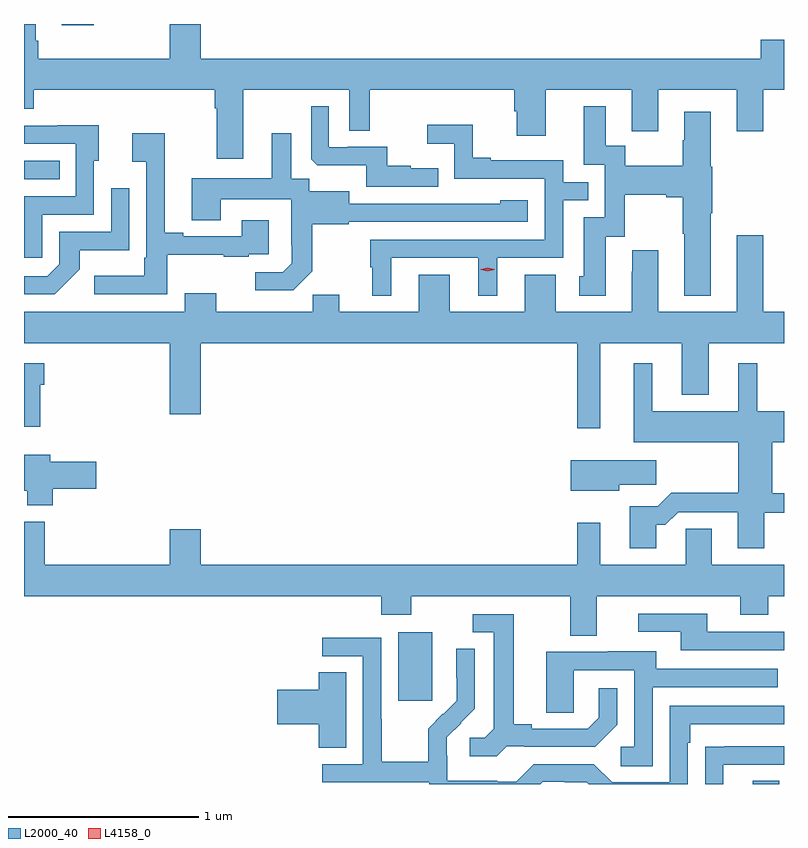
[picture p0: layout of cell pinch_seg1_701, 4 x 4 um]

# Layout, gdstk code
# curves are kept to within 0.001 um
import gdstk
lib = gdstk.Library(unit=1e-6, precision=1e-09)
def R(c, l, rs):  # rectangles x0, y0, x1, y1
    for r in rs: c.add(gdstk.rectangle(r[:2], r[2:], *l))
def P(c, l, *ps):  # polygons
    for p in ps: c.add(gdstk.Polygon(p, *l))
L2000_40 = (2000, 40)
L4158_0 = (4158, 0)

pinch_seg1_701 = lib.new_cell('pinch_seg1_701')
R(pinch_seg1_701, L2000_40, [(707.537,573.387,707.677,573.403), (705.671,573.825,705.85,574.186), (703.702,576.57,703.889,576.666), (703.901,577.38,704.069,577.387)])
P(pinch_seg1_701, L2000_40, [(704.857,577.04),(705.414,577.04),(705.414,576.826),(705.523,576.826),(705.523,577.04),(706.283,577.04),(706.283,576.927),(706.295,576.927),(706.295,576.798),(706.447,576.798),(706.447,577.04),(706.901,577.04),(706.901,576.822),(707.041,576.822),(707.041,577.04),(707.453,577.04),(707.453,576.822),(707.593,576.822),(707.593,577.04),(707.702,577.04),(707.702,577.303),(707.579,577.303),(707.579,577.204),(704.632,577.204),(704.632,577.387),(704.468,577.387),(704.468,577.204),(703.778,577.204),(703.778,577.3),(703.765,577.3),(703.765,577.387),(703.702,577.387),(703.702,576.941),(703.753,576.941),(703.753,577.04),(704.705,577.04),(704.705,576.944),(704.717,576.944),(704.717,576.678),(704.857,576.678)],
  [(705.881,576.628),(705.737,576.628),(705.737,576.64),(705.614,576.64),(705.614,576.741),(705.406,576.741),(705.406,576.738),(705.306,576.738),(705.306,576.955),(705.213,576.955),(705.213,576.675),(705.245,576.644),(705.504,576.644),(705.504,576.531),(705.881,576.531)],
  [(707.317,576.392),(707.325,576.392),(707.325,576.636),(707.317,576.636),(707.317,576.925),(707.177,576.925),(707.177,576.774),(707.17,576.774),(707.17,576.64),(706.867,576.64),(706.867,576.746),(706.765,576.746),(706.765,576.955),(706.649,576.955),(706.649,576.645),(706.758,576.645),(706.758,576.369),(706.649,576.369),(706.649,576.06),(706.625,576.06),(706.625,575.958),(706.765,575.958),(706.765,576.266),(706.863,576.266),(706.863,576.488),(707.081,576.488),(707.081,576.476),(707.17,576.476),(707.17,576.283),(707.177,576.283),(707.177,575.957),(707.317,575.957)],
  [(705.634,576.156),(706.094,576.156),(706.094,575.957),(706.192,575.957),(706.192,576.156),(706.539,576.156),(706.539,576.459),(706.673,576.459),(706.673,576.555),(706.539,576.555),(706.539,576.669),(706.159,576.669),(706.159,576.682),(706.065,576.682),(706.065,576.857),(705.825,576.857),(705.825,576.758),(705.966,576.758),(705.966,576.573),(706.443,576.573),(706.443,576.252),(705.525,576.252),(705.525,576.108),(705.536,576.108),(705.536,575.957),(705.634,575.957)],
  [(703.797,576.384),(704.07,576.384),(704.07,576.666),(704.095,576.666),(704.095,576.854),(703.877,576.854),(703.877,576.852),(703.702,576.852),(703.702,576.756),(703.974,576.756),(703.974,576.48),(703.702,576.48),(703.702,576.156),(703.797,576.156)],
  [(705.219,576.087),(705.219,576.333),(705.411,576.333),(705.411,576.345),(706.354,576.345),(706.354,576.46),(706.209,576.46),(706.209,576.442),(705.415,576.441),(705.415,576.508),(705.204,576.508),(705.204,576.572),(705.109,576.572),(705.109,576.811),(705.005,576.811),(705.005,576.574),(704.585,576.574),(704.585,576.355),(704.737,576.355),(704.737,576.464),(705.108,576.464),(705.108,576.223),(705.11,576.223),(705.11,576.128),(705.063,576.081),(704.919,576.081),(704.919,575.987),(705.119,575.987)],
  [(704.455,576.173),(704.753,576.173),(704.753,576.162),(704.885,576.162),(704.885,576.174),(704.989,576.174),(704.989,576.355),(704.849,576.355),(704.849,576.27),(704.539,576.27),(704.539,576.289),(704.443,576.289),(704.443,576.811),(704.271,576.811),(704.271,576.662),(704.346,576.662),(704.346,576.157),(704.334,576.157),(704.334,576.061),(704.073,576.061),(704.073,575.964),(704.455,575.964)],
  [(703.995,576.095),(703.995,576.197),(704.256,576.197),(704.256,576.523),(704.16,576.523),(704.16,576.294),(703.887,576.294),(703.887,576.123),(703.824,576.06),(703.702,576.06),(703.702,575.964),(703.864,575.964)],
  [(706.735,575.708),(707.165,575.708),(707.165,575.435),(707.305,575.435),(707.305,575.708),(707.702,575.708),(707.702,575.872),(707.593,575.872),(707.593,576.274),(707.453,576.274),(707.453,575.872),(707.041,575.872),(707.041,576.196),(706.904,576.196),(706.904,576.083),(706.901,576.083),(706.901,575.872),(706.501,575.872),(706.501,576.067),(706.337,576.067),(706.337,575.872),(705.943,575.872),(705.943,576.067),(705.779,576.067),(705.779,575.872),(705.361,575.872),(705.361,575.963),(705.223,575.963),(705.223,575.872),(704.713,575.872),(704.713,575.971),(704.549,575.971),(704.549,575.872),(703.702,575.872),(703.702,575.708),(704.468,575.708),(704.468,575.334),(704.632,575.334),(704.632,575.708),(706.614,575.708),(706.614,575.259),(706.735,575.259)],
  [(703.788,575.489),(703.808,575.489),(703.808,575.602),(703.702,575.602),(703.702,575.267),(703.788,575.267)],
  [(707.029,574.751),(707.078,574.751),(707.145,574.818),(707.459,574.818),(707.459,574.629),(707.599,574.629),(707.599,574.815),(707.702,574.815),(707.702,574.916),(707.639,574.916),(707.639,575.186),(707.702,575.186),(707.702,575.35),(707.56,575.35),(707.56,575.602),(707.462,575.602),(707.462,575.35),(707.008,575.35),(707.008,575.602),(706.91,575.602),(706.91,575.186),(707.461,575.186),(707.461,574.919),(707.108,574.919),(707.038,574.849),(706.889,574.849),(706.889,574.629),(707.029,574.629)],
  [(703.853,574.942),(704.083,574.942),(704.083,575.084),(703.84,575.084),(703.84,575.119),(703.702,575.119),(703.702,574.931),(703.718,574.931),(703.718,574.853),(703.853,574.853)],
  [(706.834,574.963),(707.029,574.963),(707.029,575.092),(706.58,575.092),(706.58,574.931),(706.834,574.931)],
  [(703.702,574.768),(703.702,574.376),(705.581,574.376),(705.581,574.277),(705.741,574.277),(705.741,574.376),(706.577,574.376),(706.577,574.168),(706.717,574.168),(706.717,574.376),(707.471,574.376),(707.471,574.277),(707.619,574.277),(707.619,574.376),(707.702,574.376),(707.702,574.54),(707.323,574.54),(707.323,574.73),(707.184,574.73),(707.184,574.54),(706.735,574.54),(706.735,574.762),(706.614,574.762),(706.614,574.54),(704.632,574.54),(704.632,574.729),(704.468,574.729),(704.468,574.54),(703.811,574.54),(703.811,574.768)],
  [(707.702,574.188),(707.299,574.188),(707.299,574.284),(706.935,574.284),(706.935,574.188),(707.159,574.188),(707.159,574.092),(707.702,574.092)],
  [(706.242,573.585),(706.336,573.585),(706.336,573.582),(706.708,573.582),(706.824,573.698),(706.824,573.892),(706.727,573.892),(706.727,573.735),(706.67,573.678),(706.375,573.678),(706.375,573.701),(706.279,573.701),(706.279,574.281),(706.065,574.281),(706.065,574.185),(706.175,574.185),(706.175,573.677),(706.128,573.63),(706.047,573.63),(706.047,573.533),(706.19,573.533)],
  [(706.431,573.399),(706.547,573.399),(706.547,573.396),(706.665,573.396),(706.674,573.387),(707.196,573.387),(707.196,573.605),(707.209,573.605),(707.209,573.702),(707.702,573.702),(707.702,573.798),(707.1,573.798),(707.1,573.396),(706.797,573.396),(706.701,573.492),(706.386,573.492),(706.293,573.399),(706.193,573.399),(706.193,573.403),(705.93,573.403),(705.93,573.537),(705.928,573.537),(705.928,573.634),(706.074,573.782),(706.074,574.1),(705.978,574.1),(705.978,573.946),(705.98,573.946),(705.98,573.824),(705.909,573.753),(705.906,573.756),(705.829,573.679),(705.829,573.505),(705.585,573.505),(705.585,573.728),(705.582,573.728),(705.582,574.158),(705.273,574.158),(705.273,574.059),(705.486,574.059),(705.486,573.492),(705.273,573.492),(705.273,573.396),(705.834,573.396),(705.834,573.387),(706.419,573.387)],
  [(707.01,573.897),(707.669,573.897),(707.669,573.993),(707.029,573.993),(707.029,574.087),(706.775,574.087),(706.775,574.083),(706.451,574.083),(706.451,573.763),(706.596,573.763),(706.596,573.987),(706.914,573.987),(706.914,573.582),(706.842,573.582),(706.842,573.481),(707.01,573.481)],
  [(705.397,573.974),(705.254,573.974),(705.254,573.884),(705.036,573.884),(705.036,573.701),(705.254,573.701),(705.254,573.577),(705.397,573.577)],
  [(707.383,573.489),(707.702,573.489),(707.702,573.585),(707.389,573.585),(707.389,573.584),(707.287,573.584),(707.287,573.387),(707.383,573.387)])
P(pinch_seg1_701, L4158_0, [(706.143,576.085),(706.107,576.094),(706.107,576.095),(706.107,576.095),(706.143,576.105),(706.178,576.095),(706.179,576.095),(706.178,576.094)])

lib.write_gds('pinch_seg1_701.gds')
